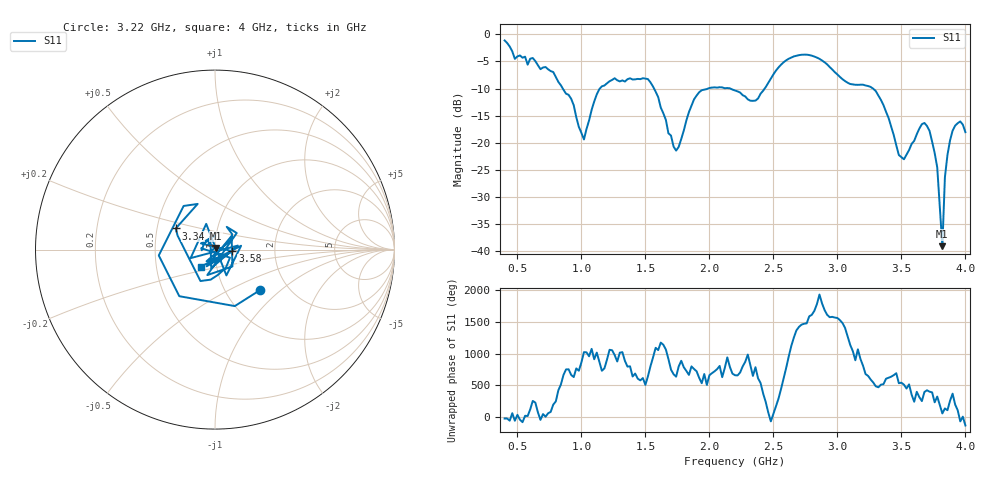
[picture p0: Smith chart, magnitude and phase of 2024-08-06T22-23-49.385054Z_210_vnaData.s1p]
!Created with skrf (http://scikit-rf.org).
# Hz S RI R 50.0
!freq ReS11 ImS11
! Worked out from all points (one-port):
!   181 points, 400 MHz to 4 GHz, reference 50 ohm
!   lowest |S11| = -39.1 dB at 3.82 GHz (marker M1), VSWR 1.02, Z = 50.6 + j0.963 ohm
!   |S11| at or under -10 dB: 854.4 MHz to 1.144 GHz (289.9 MHz wide, 29 % of centre); 1.567 GHz to 1.99 GHz (422.3 MHz wide, 23.7 % of centre); 3.278 GHz to end of sweep (the widest 3 of 4)
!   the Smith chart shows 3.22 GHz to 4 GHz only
!   S11 on the Smith chart (normalised r, x): 3.22 GHz: 1.45, -0.74; 3.34 GHz: 0.63, +0.16; 3.58 GHz: 1.22, -0.02; 4 GHz: 0.84, -0.16
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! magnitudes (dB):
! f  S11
! 400 MHz  -1.1
! 480 MHz  -4.5
! 860 MHz  -10.2
! 1.02 GHz  -19.4
! 1.14 GHz  -10.1
! 1.3 GHz  -8.7
! 1.52 GHz  -8.3
! 1.72 GHz  -20.7
! 1.76 GHz  -20.8
! 1.92 GHz  -10.7
! 2.2 GHz  -10.4
! 2.36 GHz  -12.2
! 2.66 GHz  -4.1
! 2.84 GHz  -4.3
! 3.1 GHz  -9.2
! 3.22 GHz  -9.4
! 3.34 GHz  -12.1
! 3.48 GHz  -22.3
! 3.56 GHz  -21.3
! 3.58 GHz  -20.2
! 3.66 GHz  -16.6
! 3.72 GHz  -17.8
! 3.78 GHz  -24.5
! 3.82 GHz  -39.1
! 3.84 GHz  -26.4
! 3.88 GHz  -19.6
! 3.96 GHz  -16.1
! 4 GHz  -18.0
